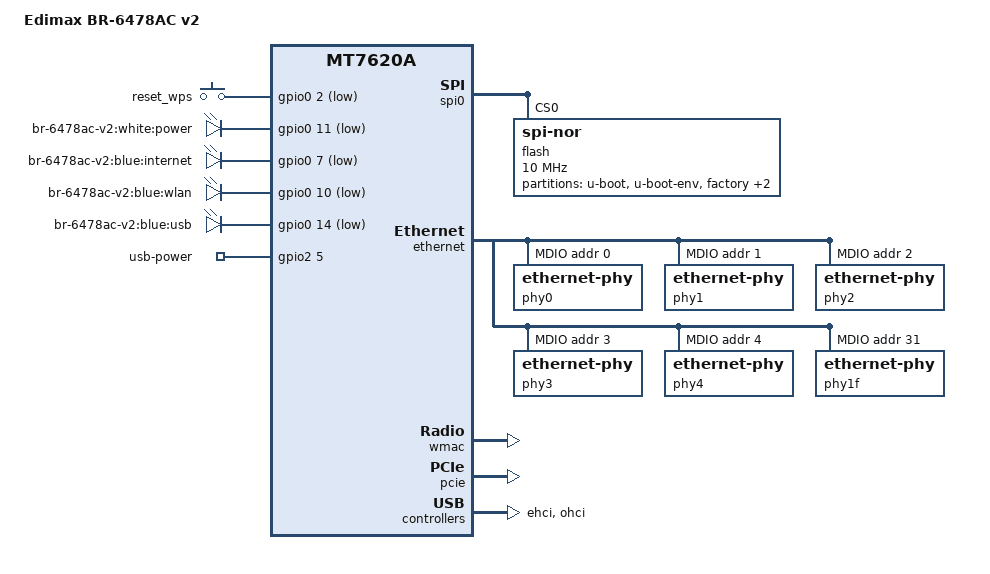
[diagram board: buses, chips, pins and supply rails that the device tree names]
/*
 * Device Tree file for the Edimax BR-6478AC V2
 * based on Linksys E1700
 *
 * Copyright (C) 2016 Rohan Murch <rohan.murch@gmail.com>
 * Copyright (C) 2016 Hans Ulli Kroll <ulli.kroll@googlemail.com>
 * Copyright (C) 2017 James McKenzie <openwrt@madingley.org>
 *
 * This file is licensed under the terms of the GNU General Public
 * License version 2.  This program is licensed "as is" without any
 * warranty of any kind, whether express or implied.
 */

/dts-v1/;

#include "mt7620a.dtsi"

#include <dt-bindings/gpio/gpio.h>
#include <dt-bindings/input/input.h>

/ {
	compatible = "edimax,br-6478ac-v2", "ralink,mt7620a-soc";
	model = "Edimax BR-6478AC v2";

	aliases {
		led-boot = &led_power;
		led-failsafe = &led_power;
		led-running = &led_power;
		led-upgrade = &led_power;
	};

	keys {
		compatible = "gpio-keys";

		reset_wps {
			label = "reset_wps";
			gpios = <&gpio0 2 GPIO_ACTIVE_LOW>;
			linux,code = <KEY_RESTART>;
		};
	};

	leds {
		compatible = "gpio-leds";

		led_power: power {
			label = "br-6478ac-v2:white:power";
			gpios = <&gpio0 11 GPIO_ACTIVE_LOW>;
		};

		internet {
			label = "br-6478ac-v2:blue:internet";
			gpios = <&gpio0 7 GPIO_ACTIVE_LOW>;
		};

		wlan {
			label = "br-6478ac-v2:blue:wlan";
			gpios = <&gpio0 10 GPIO_ACTIVE_LOW>;
		};

		usb {
			label = "br-6478ac-v2:blue:usb";
			gpios = <&gpio0 14 GPIO_ACTIVE_LOW>;
			trigger-sources = <&ohci_port1>, <&ehci_port1>;
			linux,default-trigger = "usbport";
		};
	};

	gpio_export {
		compatible = "gpio-export";
		#size-cells = <0>;
		usb-power {
			gpio-export,name="usb-power";
			gpio-export,output=<1>;
			gpios = <&gpio2 5 GPIO_ACTIVE_HIGH>;
		};
	};
};

&gpio2 {
	status = "okay";
};

&spi0 {
	status = "okay";

	flash@0 {
		compatible = "jedec,spi-nor";
		reg = <0>;
		spi-max-frequency = <10000000>;

		partitions {
			compatible = "fixed-partitions";
			#address-cells = <1>;
			#size-cells = <1>;

			partition@0 {
				label = "u-boot";
				reg = <0x0 0x30000>;
				read-only;
			};

			partition@30000 {
				label = "u-boot-env";
				reg = <0x30000 0x10000>;
				read-only;
			};

			factory: partition@40000 {
				label = "factory";
				reg = <0x40000 0x10000>;
				read-only;
			};

			partition@50000 {
				label = "cimage";
				reg = <0x50000 0x20000>;
				read-only;
			};

			partition@70000 {
				compatible = "edimax,uimage";
				label = "firmware";
				reg = <0x00070000 0x00790000>;
			};
		};
	};
};

&state_default {
	gpio {
		groups = "i2c", "uartf", "nd_sd";
		function = "gpio";
	};
};

&ethernet {
	pinctrl-names = "default";
	pinctrl-0 = <&rgmii1_pins &rgmii2_pins &mdio_pins>;

	mtd-mac-address = <&factory 0x4>;

	mediatek,portmap = "wllll";

	port@5 {
		status = "okay";
		mediatek,fixed-link = <1000 1 1 1>;
		phy-mode = "rgmii";
	};

	mdio-bus {
		status = "okay";

		phy0: ethernet-phy@0 {
			reg = <0>;
			phy-mode = "rgmii";
		};

		phy1: ethernet-phy@1 {
			reg = <1>;
			phy-mode = "rgmii";
		};

		phy2: ethernet-phy@2 {
			reg = <2>;
			phy-mode = "rgmii";
		};

		phy3: ethernet-phy@3 {
			reg = <3>;
			phy-mode = "rgmii";
		};

		phy4: ethernet-phy@4 {
			reg = <4>;
			phy-mode = "rgmii";
		};

		phy1f: ethernet-phy@1f {
			reg = <0x1f>;
			phy-mode = "rgmii";
		};
	};
};

&gsw {
	mediatek,port4 = "gmac";
};

&wmac {
	ralink,mtd-eeprom = <&factory 0x0>;
};

&pcie {
	status = "okay";
};

&pcie0 {
	wifi@0,0 {
		reg = <0x0000 0 0 0 0>;
		mediatek,mtd-eeprom = <&factory 0x8000>;
		mediatek,2ghz = <0>;
	};
};

&ehci {
	status = "okay";
};

&ohci {
	status = "okay";
};
